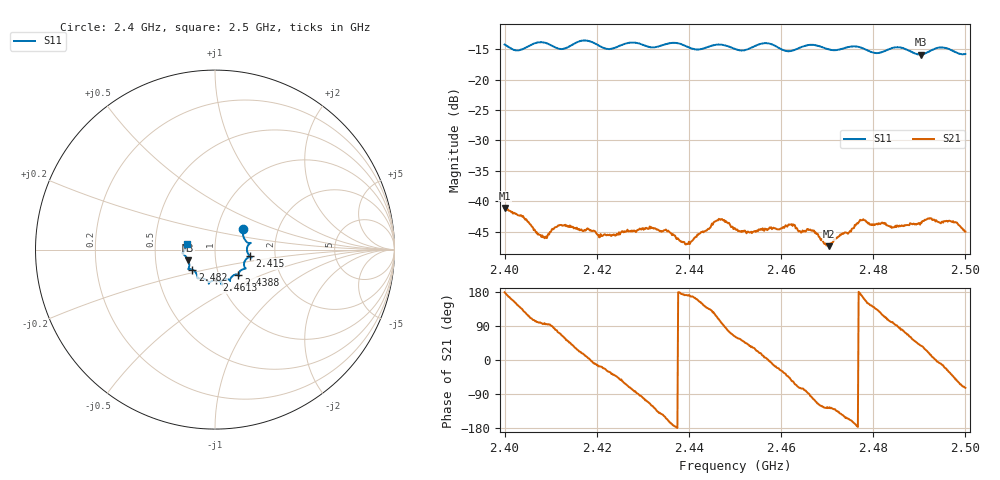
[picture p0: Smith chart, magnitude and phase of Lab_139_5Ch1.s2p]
# Hz S RI R
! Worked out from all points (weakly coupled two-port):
!   601 points, 2.4 GHz to 2.5 GHz, reference 50 ohm
!   highest |S21| = -41.11 dB at 2.4 GHz (marker M1); lowest = -47.4 dB at 2.4703 GHz (marker M2)
!   lowest |S11| = -15.9 dB at 2.4903 GHz (marker M3), VSWR 1.38, Z = 36.8 - j4.46 ohm
!   |S11| at or under -10 dB: start of sweep to end of sweep
!   S12 and S22 are empty: the file has one direction only
!   S11 on the Smith chart (normalised r, x): 2.4 GHz: 1.33, +0.31; 2.415 GHz: 1.47, -0.11; 2.4388 GHz: 1.24, -0.36; 2.4613 GHz: 0.96, -0.34; 2.482 GHz: 0.76, -0.17; 2.5 GHz: 0.72, +0.05
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2.4e9  0.1581 0.1121  -0.0088 0.00022  0 0  0 0
2.402833e9  0.1607 0.065  -0.00631 0.00443  0 0  0 0
2.408333e9  0.1984 0.0374  -0.000408 0.00505  0 0  0 0
2.411833e9  0.1786 0.00846  0.00202 0.00601  0 0  0 0
2.415e9  0.1925 -0.0359  0.00483 0.00355  0 0  0 0
2.416667e9  0.2037 -0.0439  0.00558 0.00185  0 0  0 0
2.4225e9  0.1655 -0.0654  0.00453 -0.00269  0 0  0 0
2.4275e9  0.1716 -0.1052  0.00147 -0.00556  0 0  0 0
2.433333e9  0.1327 -0.1314  -0.00426 -0.00398  0 0  0 0
2.438833e9  0.13 -0.141  -0.00462 0.000536  0 0  0 0
2.446667e9  0.084 -0.1746  -0.00173 0.00691  0 0  0 0
2.45e9  0.0684 -0.1647  0.00279 0.00531  0 0  0 0
2.456833e9  0.0381 -0.195  0.00591 0.000448  0 0  0 0
2.461333e9  0.00782 -0.1708  0.00459 -0.00415  0 0  0 0
2.466667e9  -0.0344 -0.1898  -0.000828 -0.00568  0 0  0 0
2.470333e9  -0.0461 -0.1708  -0.00254 -0.00345  0 0  0 0
2.4775e9  -0.0973 -0.154  -0.0069 0.0012  0 0  0 0
2.482e9  -0.126 -0.1116  -0.00322 0.00586  0 0  0 0
2.483333e9  -0.1396 -0.1087  -0.00159 0.00607  0 0  0 0
2.490333e9  -0.1492 -0.059  0.00529 0.00411  0 0  0 0
2.496833e9  -0.1751 -0.0125  0.00548 -0.00411  0 0  0 0
2.5e9  -0.1587 0.0325  0.00161 -0.0054  0 0  0 0
